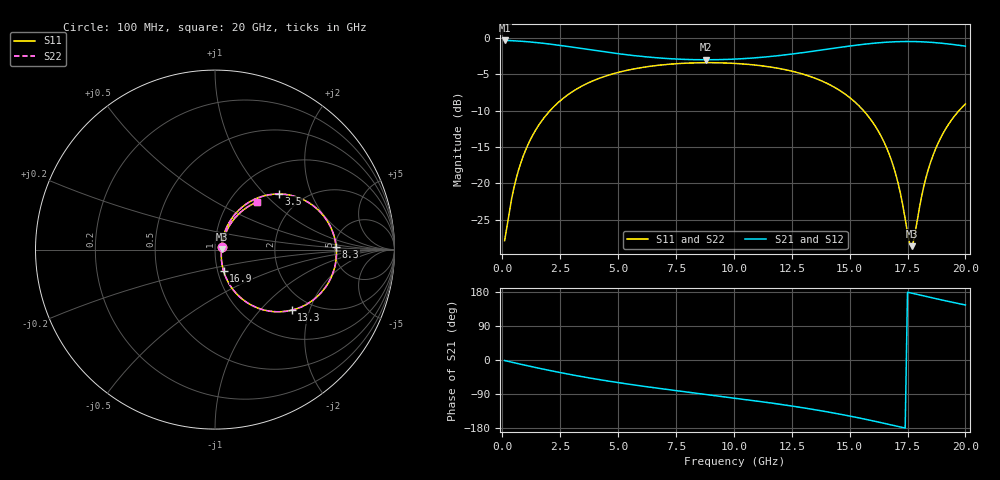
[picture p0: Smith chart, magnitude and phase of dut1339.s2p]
! Touchstone file exported from HFSS 2026.1.0
!  File:  C:/ffzhzh/LocalFiles/Ansys_Project_Files/temp_train_TSV_RDL_1339_1783338976_5512.aedt
!  Generated:  08:06:44 PM Jul  6, 2026
!  Design:  TSV_RDL
!  Project:  temp_train_TSV_RDL_1339_1783338976_5512
! Variables:
!  h_bsmrdl = 2.11um
!  h_ox = 20um
!  h_rdl = 5um
!  h_sub = 59.39um
!  h_tmrdl = 3.87um
!  h_tsv = 59.39um
!  h_via = 3um
!  l_bsmrdl = 778.96um
!  l_sub = 3607.37um
!  l_tmrdl = 187.24um
!  m_sub = 200um
!  pitch = 52.15um
!  r_tsv = 5.28um
!  s_tmrdl = 10um
!  w_bsmrdl = 11.84um
!  w_sub = 500um
!  w_tmrdl = 28.67um
!  x_tsv_center1 = 201.575um
!  x_tsv_center2 = 992.375um
!  x_tsv_center3 = 1208.285um
!  x_tsv_center4 = 1999.085um
!  x_tsv_center5 = 2214.995um
!  x_tsv_center6 = 3005.795um
# GHz S MA R 50.000000
! Terminal data exported
! Port[1] = TM_RDL1_1_T1
! Port[2] = TM_RDL5_1_T1
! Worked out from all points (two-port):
!   200 points, 100 MHz to 20 GHz, reference 50 ohm
!   highest |S21| = -0.32 dB at 100 MHz (marker M1); lowest = -3.0 dB at 8.8 GHz (marker M2)
!   |S21| within 3 dB of the highest: start of sweep to end of sweep
!   lowest |S11| = -28.7 dB at 17.7 GHz (marker M3), VSWR 1.08, Z = 53.8 + j0.238 ohm
!   |S11| at or under -10 dB: start of sweep to 2.06 GHz; 15.6 GHz to 19.72 GHz (4.119 GHz wide, 23.3 % of centre)
!   |S22| runs from -28.8 to -3.4 dB; largest |S21 - S12| = 1.6e-14
!   S11 on the Smith chart (normalised r, x): 100 MHz: 1.08, +0.04; 3.5 GHz: 1.52, +1.22; 8.3 GHz: 5.14, +0.30; 13.3 GHz: 1.59, -1.53; 16.9 GHz: 1.07, -0.26; 20 GHz: 1.33, +0.80
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0.1  0.04025 24.0  0.9635 -1.4  0.9635 -1.4  0.04025 24.0
! Gamma 0 0 0 0
! Port Impedance 50 0 50 0
0.6  0.1078 60.5  0.9564 -8.5  0.9564 -8.5  0.1078 60.5
1.2  0.1978 61.7  0.941 -16.7  0.941 -16.7  0.1978 61.7
2.2  0.334 53.6  0.9036 -29.5  0.9036 -29.5  0.334 53.6
3.5  0.4729 40.9  0.8443 -44.6  0.8443 -44.6  0.4728 40.9
6.8  0.6514 12.6  0.7294 -75.2  0.7294 -75.2  0.6513 12.6
8.3  0.6753 1.3  0.7105 -87.0  0.7105 -87.0  0.6753 1.3
8.8  0.6772 -2.3  0.7092 -90.9  0.7092 -90.9  0.6772 -2.3
10.1  0.6686 -12.0  0.7174 -101.0  0.7174 -101.0  0.6685 -12.0
13.3  0.5442 -38.4  0.8072 -129.1  0.8072 -129.1  0.5442 -38.4
13.4  0.5371 -39.3  0.8113 -130.1  0.8113 -130.1  0.5371 -39.3
15.4  0.3422 -59.0  0.8986 -152.8  0.8986 -152.8  0.3422 -59.1
16.1  0.2485 -65.5  0.924 -161.8  0.924 -161.8  0.2485 -65.5
16.7  0.16 -68.6  0.9395 -169.9  0.9395 -169.9  0.1599 -68.7
16.9  0.1295 -68.2  0.943 -172.7  0.943 -172.7  0.1294 -68.3
17.2  0.08437 -63.0  0.9465 -176.9  0.9465 -176.9  0.08424 -63.2
17.6  0.03799 -20.5  0.9477 177.5  0.9477 177.5  0.03763 -20.7
17.7  0.03687 3.4  0.9474 176.1  0.9474 176.1  0.03649 3.5
18.2  0.0946 55.1  0.942 169.1  0.942 169.1  0.09441 55.4
18.6  0.1554 58.8  0.9333 163.6  0.9333 163.6  0.1553 59.0
19.2  0.2445 56.0  0.9141 155.5  0.9141 155.5  0.2444 56.1
20  0.3517 48.6  0.8801 145.2  0.8801 145.2  0.3516 48.7
